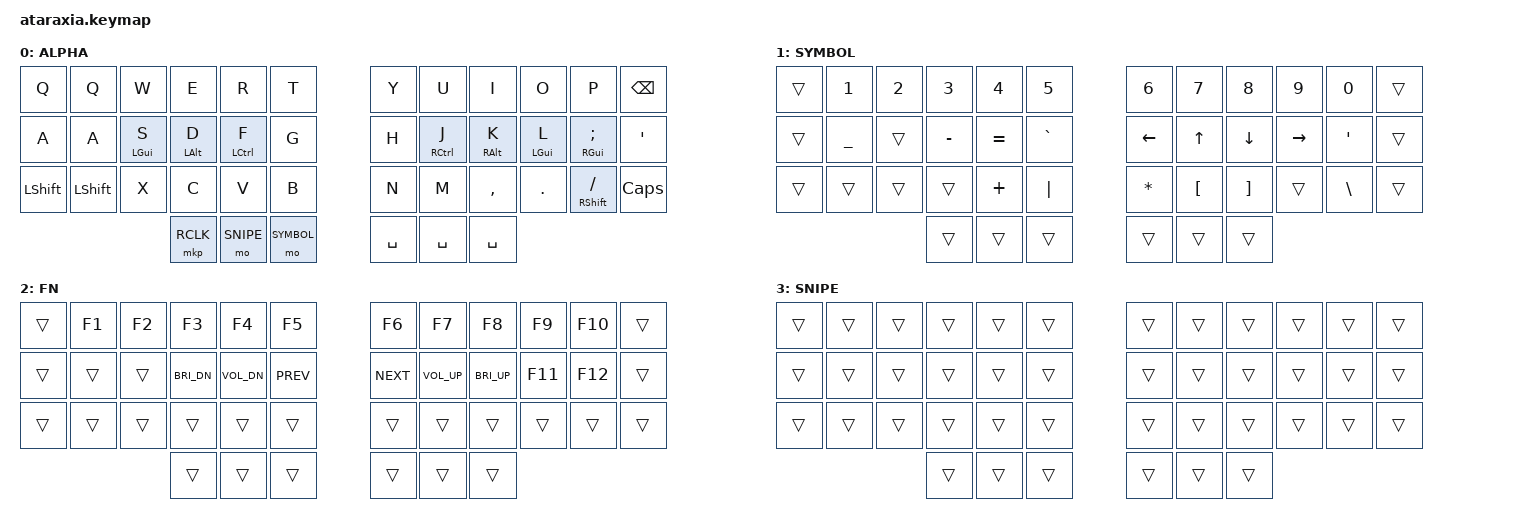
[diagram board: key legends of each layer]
/*
 * Copyright (c) 2025 miketronic
 * SPDX-License-Identifier: MIT
 * ataraxia v1 qwerty 5-column
 */

/*
 *
 * List of behaviors here > https://github.com/zmkfirmware/zmk/tree/main/app/dts/behaviors
 *
 *
 * #undef ZMK_BEHAVIORS_KEEP_ALL
 * #define ZMK_BEHAVIORS_KEEP_BT
 * #define ZMK_BEHAVIORS_KEEP_KP
 * #define ZMK_BEHAVIORS_KEEP_LT
 * #define ZMK_BEHAVIORS_KEEP_MKP
 * #define ZMK_BEHAVIORS_KEEP_MMV
 * #define ZMK_BEHAVIORS_KEEP_MSC
 * #define ZMK_BEHAVIORS_KEEP_MT
 * #define ZMK_BEHAVIORS_KEEP_NONE
 * #define ZMK_BEHAVIORS_KEEP_SK
 *
 *
 */

#define ZMK_POINTING_DEFAULT_MOVE_VAL 500
#define ZMK_POINTING_DEFAULT_SCRL_VAL 200

#include <behaviors.dtsi>
#include <input/processors.dtsi>
#include <dt-bindings/zmk/keys.h>
#include <dt-bindings/zmk/bt.h>
#include <dt-bindings/zmk/outputs.h>
#include <dt-bindings/zmk/pointing.h>

#define ALPHA       0
#define SYMBOL      1
#define FN          2
#define SNIPE       3

#define MS_U &msc SCRL_UP
#define MS_D &msc SCRL_DOWN
#define MS_R &msc SCRL_RIGHT
#define MS_L &msc SCRL_LEFT


/ {
    combos {
        compatible = "zmk,combos";

        combo_bootloader {
            timeout-ms = <40>;
            key-positions = < 29 30 >;
            bindings = <&bootloader>;
            layers = < FN >;
        };
        combo_right_meh {
            timeout-ms = <40>;
            slow-release;
            key-positions = < 19 20 21 >;
            bindings = <&hold_meh_macro>;
        };
        combo_left_meh {
            timeout-ms = <40>;
            slow-release;
            key-positions = < 14 15 16 >;
            bindings = <&hold_meh_macro>;
        };
        combo_right_hyper {
            timeout-ms = <40>;
            key-positions = < 19 20 21 22 >;
            bindings = <&hold_hyper_macro>;
        };
        combo_left_hyper {
            timeout-ms = <40>;
            key-positions = < 13 14 15 16 >;
            bindings = <&hold_hyper_macro>;
        };
        combo_left_mouse_click {
            timeout-ms = <40>;
            key-positions = < 15 16 >;
            bindings = <&mkp LCLK>;
        };
        combo_right_mouse_click {
            timeout-ms = <40>;
            key-positions = < 14 15 >;
            bindings = <&mkp RCLK>;
        };
        combo_middle_mouse_click {
            timeout-ms = <40>;
            key-positions = < 13 14 >;
            bindings = <&mkp MCLK>;
        };
        combo_esc {
            timeout-ms = <40>;
            key-positions = < 1 16 >;
            bindings = <&kp ESC>;
        };
        combo_tab {
            timeout-ms = <40>;
            key-positions = < 13 16 >;
            bindings = <&kp TAB>;
        };
        combo_backspace {
            timeout-ms = <40>;
            key-positions = < 19 10 >;
            bindings = <&kp BACKSPACE>;
        };
        combo_del {
            timeout-ms = <40>;
            key-positions = < 19 9 >;
            bindings = <&kp DELETE>;
        };
        combo_enter {
            timeout-ms = <40>;
            key-positions = < 19 22 >;
            bindings = <&kp ENTER>;
        };
        combo_fn_layer {
            timeout-ms = <40>;
            slow-release;
            key-positions = < 38 39 >;
            bindings = <&mo FN>;
        };
        combo_z {
            timeout-ms = <40>;
            key-positions = < 25 26 >;
            bindings = <&kp Z>;
        };
    };

    behaviors {
        hml: home_row_mod_left {
            compatible = "zmk,behavior-hold-tap";
            #binding-cells = <2>;
            flavor = "balanced";
            require-prior-idle-ms = <125>;
            tapping-term-ms = <280>;
            quick-tap-ms = <200>;
            bindings = <&kp>, <&kp>;
            hold-trigger-key-positions = < 6 7 8 9 10 11 18 19 20 21 22 23 30 31 32 33 34 35 27 28 29 39 40 41 >; // List of keys on the right side of the keyboard
            hold-trigger-on-release;
        };
        hmr: home_row_mod_right {
            compatible = "zmk,behavior-hold-tap";
            #binding-cells = <2>;
            flavor = "balanced";
            require-prior-idle-ms = <125>;
            tapping-term-ms = <280>;
            quick-tap-ms = <200>;
            bindings = <&kp>, <&kp>;
            hold-trigger-key-positions = < 0 1 2 3 4 5 12 13 14 15 16 17 24 25 26 27 28 29 39 40 41 >; // List of keys on the left side of the keyboard
            hold-trigger-on-release;
        };
        hold_hyper_macro: hold_hyper_macro {
            compatible = "zmk,behavior-macro";
            #binding-cells = <0>;
            // When the combo is pressed, only "press" these keys (hold them down)
            bindings
                = <&macro_press &kp LCTRL &kp LSHFT &kp LALT &kp LGUI>
                , <&macro_pause_for_release> // Pause until combo keys are released
                , <&macro_release &kp LCTRL &kp LSHFT &kp LALT &kp LGUI>
                ;
            // Pause to allow other keys to be pressed while the combo is held
            wait-ms = <0>;
            tap-ms = <0>;
        };
        hold_meh_macro: hold_meh_macro {
            compatible = "zmk,behavior-macro";
            #binding-cells = <0>;
            // When the combo is pressed, only "press" these keys (hold them down)
            bindings
                = <&macro_press &kp LCTRL &kp LSHFT &kp LALT>
                , <&macro_pause_for_release> // Pause until combo keys are released
                , <&macro_release &kp LCTRL &kp LSHFT &kp LALT>
                ;
            // Pause to allow other keys to be pressed while the combo is held
            wait-ms = <0>;
            tap-ms = <0>;
        };
    };

    keymap {
        compatible = "zmk,keymap";

        ALPHA_layer {
            display-name = "ALPHA";  
            bindings = <
                &kp Q      &kp Q      &kp W        &kp E        &kp R         &kp T       &kp Y      &kp U         &kp I        &kp O        &kp P            &kp BSPC
                &kp A      &kp A      &hml LGUI S  &hml LALT D  &hml LCTRL F  &kp G       &kp H      &hmr RCTRL J  &hmr RALT K  &hmr LGUI L  &hmr RGUI SEMI   &kp QUOT
                &kp LSHFT  &kp LSHFT  &kp X        &kp C        &kp V         &kp B       &kp N      &kp M         &kp COMMA    &kp DOT      &hmr RSHFT FSLH  &kp CAPS
                                                   &mkp RCLK    &mo SNIPE     &mo SYMBOL  &kp SPACE  &kp SPACE     &kp SPACE
            >;
        };

        SYMBOL_layer {
            display-name = "SYMBOL";  
            bindings = <
                &trans  &kp N1     &kp N2  &kp N3     &kp N4     &kp N5     &kp N6    &kp N7    &kp N8    &kp N9     &kp N0    &trans
                &trans  &kp UNDER  &trans  &kp MINUS  &kp EQUAL  &kp GRAVE  &kp LEFT  &kp UP    &kp DOWN  &kp RIGHT  &kp APOS  &trans
                &trans  &trans     &trans  &trans     &kp PLUS   &kp PIPE   &kp STAR  &kp LBKT  &kp RBKT  &trans     &kp BSLH  &trans
                                           &trans     &trans     &trans     &trans    &trans    &trans
            >;
        };

        FN_layer {
            display-name = "FN";  
            bindings = <
                &trans  &kp F1  &kp F2  &kp F3        &kp F4        &kp F5      &kp F6      &kp F7        &kp F8        &kp F9    &kp F10   &trans
                &trans  &trans  &trans  &kp C_BRI_DN  &kp C_VOL_DN  &kp C_PREV  &kp C_NEXT  &kp C_VOL_UP  &kp C_BRI_UP  &kp F11   &kp F12   &trans 
                &trans  &trans  &trans  &trans        &trans        &trans      &trans      &trans        &trans        &trans    &trans    &trans
                                        &trans        &trans        &trans      &trans      &trans        &trans
            >;
        };

        SNIPE_layer {
            display-name = "SNIPE";  
            bindings = <
                &trans  &trans  &trans  &trans  &trans  &trans  &trans  &trans  &trans  &trans  &trans  &trans
                &trans  &trans  &trans  &trans  &trans  &trans  &trans  &trans  &trans  &trans  &trans  &trans
                &trans  &trans  &trans  &trans  &trans  &trans  &trans  &trans  &trans  &trans  &trans  &trans
                                        &trans  &trans  &trans  &trans  &trans  &trans
            >;
        };
    };
};
